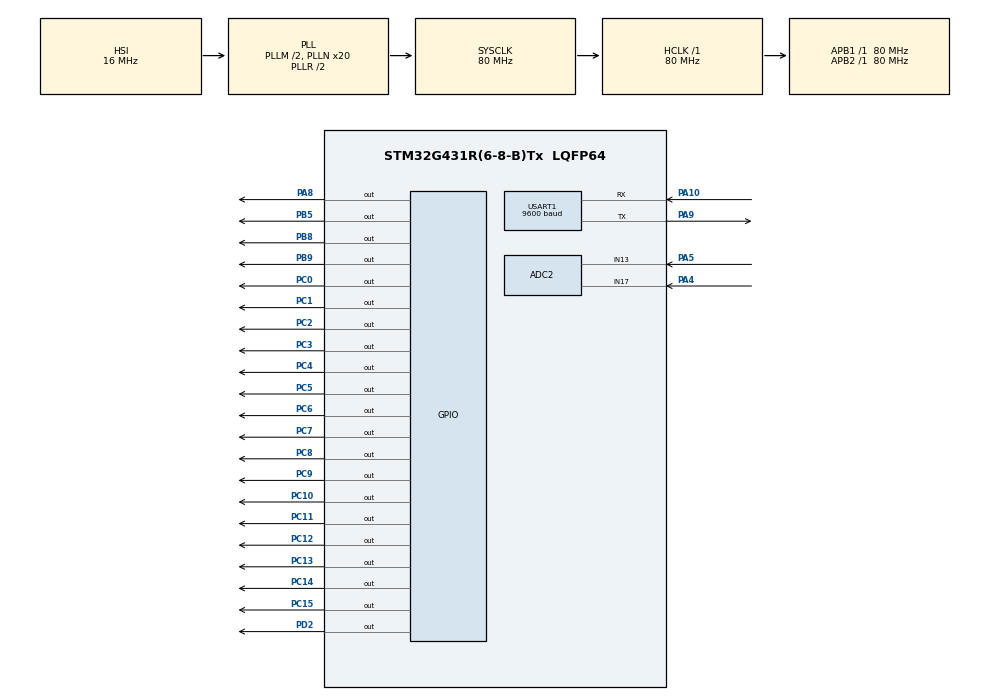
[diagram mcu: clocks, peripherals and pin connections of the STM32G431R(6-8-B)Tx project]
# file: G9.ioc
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ADC2.Channel-0\#ChannelRegularConversion=ADC_CHANNEL_17
ADC2.Channel-1\#ChannelRegularConversion=ADC_CHANNEL_13
ADC2.NbrOfConversion=2
ADC2.NbrOfConversionFlag=1
ADC2.OffsetNumber-0\#ChannelRegularConversion=ADC_OFFSET_NONE
ADC2.OffsetNumber-1\#ChannelRegularConversion=ADC_OFFSET_NONE
ADC2.Rank-0\#ChannelRegularConversion=1
ADC2.Rank-1\#ChannelRegularConversion=2
ADC2.SamplingTime-0\#ChannelRegularConversion=ADC_SAMPLETIME_640CYCLES_5
ADC2.SamplingTime-1\#ChannelRegularConversion=ADC_SAMPLETIME_640CYCLES_5
Mcu.Family=STM32G4
Mcu.Name=STM32G431R(6-8-B)Tx
Mcu.Package=LQFP64
NVIC.PriorityGroup=NVIC_PRIORITYGROUP_4
NVIC.TIM1_BRK_TIM15_IRQn=true\:0\:0\:false\:false\:true\:true\:true\:true
NVIC.USART1_IRQn=true\:0\:0\:false\:false\:true\:true\:true\:true
PA10.Mode=Asynchronous
PA10.Signal=USART1_RX
PA4.Mode=IN17-Single-Ended
PA4.Signal=ADC2_IN17
PA5.Mode=IN13-Single-Ended
PA5.Signal=ADC2_IN13
PA8.Signal=GPIO_Output
PA9.Mode=Asynchronous
PA9.Signal=USART1_TX
PB5.Signal=GPIO_Output
PB8-BOOT0.Signal=GPIO_Output
PB9.Signal=GPIO_Output
PC0.Signal=GPIO_Output
PC1.Signal=GPIO_Output
PC10.Signal=GPIO_Output
PC11.Signal=GPIO_Output
PC12.Signal=GPIO_Output
PC13.Signal=GPIO_Output
PC14-OSC32_IN.Signal=GPIO_Output
PC15-OSC32_OUT.Signal=GPIO_Output
PC2.Signal=GPIO_Output
PC3.Signal=GPIO_Output
PC4.Signal=GPIO_Output
PC5.Signal=GPIO_Output
PC6.Signal=GPIO_Output
PC7.Signal=GPIO_Output
PC8.Signal=GPIO_Output
PC9.Signal=GPIO_Output
PD2.Signal=GPIO_Output
PF0-OSC_IN.Mode=HSE-External-Oscillator
PF0-OSC_IN.Signal=RCC_OSC_IN
PF1-OSC_OUT.Mode=HSE-External-Oscillator
PF1-OSC_OUT.Signal=RCC_OSC_OUT
ProjectManager.HeapSize=0x200
ProjectManager.StackSize=0x400
ProjectManager.TargetToolchain=MDK-ARM V5
RCC.ADC12Freq_Value=80000000
RCC.AHBFreq_Value=80000000
RCC.APB1Freq_Value=80000000
RCC.APB1TimFreq_Value=80000000
RCC.APB2Freq_Value=80000000
RCC.APB2TimFreq_Value=80000000
RCC.CortexFreq_Value=80000000
RCC.EXTERNAL_CLOCK_VALUE=12288000
RCC.HCLKFreq_Value=80000000
RCC.HSE_VALUE=24000000
RCC.HSI48_VALUE=48000000
RCC.HSI_VALUE=16000000
RCC.LSE_VALUE=32768
RCC.PLLM=RCC_PLLM_DIV2
RCC.PLLN=20
RCC.SYSCLKFreq_VALUE=80000000
RCC.SYSCLKSource=RCC_SYSCLKSOURCE_PLLCLK
RCC.USBFreq_Value=80000000
RCC.VCOOutputFreq_Value=160000000
TIM15.PeriodNoDither=9999
TIM15.Prescaler=799
USART1.BaudRate=9600
USART1.VirtualMode-Asynchronous=VM_ASYNC
VP_SYS_VS_DBSignals.Mode=DisableDeadBatterySignals
VP_TIM15_VS_ClockSourceINT.Mode=Internal
board=custom

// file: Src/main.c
/* USER CODE BEGIN Header */
/**
  ******************************************************************************
  * @file           : main.c
  * @brief          : Main program body
  ******************************************************************************
  * @attention
  *
  * <h2><center>&copy; Copyright (c) 2021 STMicroelectronics.
  * All rights reserved.</center></h2>
  *
  * This software component is licensed by ST under BSD 3-Clause license,
  * the "License"; You may not use this file except in compliance with the
  * License. You may obtain a copy of the License at:
  *                        opensource.org/licenses/BSD-3-Clause
  *
  ******************************************************************************
  */
/* USER CODE END Header */

#include "main.h"
#include "adc.h"
#include "tim.h"
#include "usart.h"
#include "gpio.h"

/* USER CODE BEGIN Includes */
#include "led.h"
#include "stdio.h"
#include "string.h"
#include "math.h"
#include "i2c_hal.h"

/* USER CODE END Includes */

void SystemClock_Config(void);

/* USER CODE BEGIN 0 */

#define Display_Charge 0
#define Display_Setting 1

u8 Display_Mode = 0;

//1
//回来试试结构体写法--不一定比单个变量好用，由于这里每个对象只有两个特征
//typedef struct{
//
//
//	double price;
//
//
//
//} product;

u8 pdu_number = 1;

double pdu_weight = 8.00;
//2
double pdu_price[3] = {5.56,0.54,9.95};
double pdu_price_temp[3] = {5.56,0.54,9.95};
int set_number = 0;
u8 pdu_chose = 1;
double total_price = 0;

//EEPROM
u8 st = 0;

//LED
u8 led_ctrl = 0x00;
void LED_Proc(void)
{
	Led_Control(led_ctrl);
}

//key

uint32_t longTick1 = 0;
uint32_t idleTick1 = 0;

uint32_t longTick2 = 0;
uint32_t idleTick2 = 0;

//Two ADC
u32 adc_val1,adc_val2;
double rp5_v;
//double rp6_v;//用AKEY之前可以先测试两个通道是否影响
void ADC_Proc(void)
{
	HAL_ADC_Start(&hadc2);
	adc_val1 = HAL_ADC_GetValue(&hadc2);
	rp5_v = adc_val1/4095.0*3.3;

	pdu_weight = rp5_v/3.3*10;

	HAL_ADC_Start(&hadc2);
	adc_val2 = HAL_ADC_GetValue(&hadc2);
}

//AKEY
u8 Akey_IO(void)
{
	u8 key_val = 0x00;
	if(adc_val2 < 200)
		key_val|=0x01;
	else if(adc_val2 < 800)
		key_val|=0x02;
	else if(adc_val2 < 1400)
		key_val|=0x04;
	else if(adc_val2 < 2000)
		key_val|=0x08;
	else if(adc_val2 < 2600)
		key_val|=0x10;
	else if(adc_val2 < 3200)
		key_val|=0x20;
	else if(adc_val2 < 3800)
		key_val|=0x40;
	else if(adc_val2 < 3950)
		key_val|=0x80;

	return key_val;

}

u8 Atrg,Aup,ACont;

void Akey_Read(void)
{
	u8 ReadData = Akey_IO();
	Atrg = ReadData & (ReadData ^ ACont);
	Aup = ~ReadData & (ReadData ^ ACont);
	ACont = ReadData;
}

uint32_t akeyTick = 0;
extern int led_cnt1;

double inter,frac;
void Akey_Proc(void)
{
	if(uwTick - akeyTick < 20)return;
	akeyTick = uwTick;

	Akey_Read();

	if(Atrg & 0x01)
	{
		LCD_Clear(Black);
		Display_Mode = (Display_Mode + 1)%2;

		led_cnt1 = 0;

		if(Display_Mode == Display_Charge)
		{
			if(fabs(pdu_price[0] - pdu_price_temp[0]) < 0.001 && fabs(pdu_price[1] - pdu_price_temp[1]) < 0.001 && fabs(pdu_price[2] - pdu_price_temp[2]) < 0.001)
			{

			}
			else
			{
				pdu_price_temp[0] = pdu_price[0];
				pdu_price_temp[1] = pdu_price[1];
				pdu_price_temp[2] = pdu_price[2];
				set_number++;
			}

			printf("U.W.1:%.2f\r\nU.W.2:%.2f\r\nU.W.3:%.2f\r\n",pdu_price[0],pdu_price[1],pdu_price[2]);

      frac = modf(pdu_price[0],&inter);

			EEPROM_Write(0x02,(int)(pdu_price[0]*100)/256);
			EEPROM_Write(0x03,(int)(pdu_price[0]*100)%256);//这里一定改为round!!!!

//      frac = modf(pdu_price[1],&inter);
//
//			EEPROM_Write(0x04,round(inter));
//			EEPROM_Write(0x05,round((frac*100.0)));
//
//      frac = modf(pdu_price[2],&inter);
//
//			EEPROM_Write(0x06,round(inter));
//			EEPROM_Write(0x07,round((frac*100.0)));

			EEPROM_Write(0x08,set_number);
		}

		if(Display_Mode == Display_Setting)
		{
			pdu_price[0] = pdu_price_temp[0];
			pdu_price[1] = pdu_price_temp[1];
			pdu_price[2] = pdu_price_temp[2];
		}
	}

	if(Atrg & 0x02) //长度按
	{
		longTick1 = uwTick;

	}else if(ACont & 0x02 && uwTick - longTick1 > 800)
	{
		if(Display_Mode == Display_Setting)
		{
			if(uwTick - idleTick1 < 100) return; //间隔100ms加一次
			idleTick1 = uwTick;

			pdu_price[pdu_chose - 1]+=0.01; //考虑间隔加一次

			if(pdu_price[pdu_chose - 1] > 10.001)
				pdu_price[pdu_chose - 1] = 0;
		}
	}
	else if(Aup & 0x02 && uwTick - longTick1 < 800)
	{
		if(Display_Mode == Display_Setting)
		{
			pdu_price[pdu_chose - 1]+=0.01;

			if(pdu_price[pdu_chose - 1] > 10.001)
				pdu_price[pdu_chose - 1] = 0;
		}
	}

	if(Atrg & 0x04) //长短按
	{
		longTick2 = uwTick;
	}
	else if(ACont & 0x04 && uwTick - longTick2 > 800)
	{
		if(Display_Mode == Display_Setting)
		{
			if(uwTick - idleTick2 < 100) return; //间隔100ms一次
			idleTick2 = uwTick;

			pdu_price[pdu_chose - 1]-=0.01;

			if(pdu_price[pdu_chose - 1] < -0.001)
				pdu_price[pdu_chose - 1] = 10;
		}

	}
	else if(Aup & 0x04 && uwTick - longTick2 <800)
	{
		if(Display_Mode == Display_Setting)
		{

			pdu_price[pdu_chose - 1]-=0.01;

			if(pdu_price[pdu_chose - 1] < -0.001)
				pdu_price[pdu_chose - 1] = 10;
		}
	}

	if(Atrg & 0x08)
	{
		if(Display_Mode == Display_Setting)
		{
			pdu_chose = pdu_chose%3+1;
		}
	}

	if(Atrg & 0x10)
	{
		if(Display_Mode == Display_Charge)
			pdu_number = 1;
	}

	if(Atrg & 0x20)
	{
		if(Display_Mode == Display_Charge)
			pdu_number = 2;
	}

	if(Atrg & 0x40)
	{
		if(Display_Mode == Display_Charge)
			pdu_number = 3;
	}

	if(Atrg & 0x80)
	{
		if(Display_Mode == Display_Charge)
		{
			total_price = pdu_price[pdu_number-1] * pdu_weight;
			printf("U.W.%d:%.2f\r\nG.W:%.2f\r\nTotal:%.2f\r\n",pdu_number,pdu_price[pdu_number-1],pdu_weight,total_price); //在题目没有说明的情况下，一般结尾加上回车

		}
	}

}

//USART
int fputc(int ch, FILE *f)
{
  /* Your implementation of fputc(). */
	HAL_UART_Transmit(&huart1,(u8*)&ch,1,50);
  return ch;
}

//LCD
uint32_t lcdTick = 0;
void LCD_Proc(void)
{
	if(uwTick - lcdTick < 100) return;

	//ADC_Proc(); //若考虑到按键响应还是放到外面好

	u8 display_buf[30];

	if(Display_Mode == Display_Charge)
	{
		sprintf((char *)display_buf,"     Charge Price");
		LCD_DisplayStringLine(Line0,display_buf);

		sprintf((char *)display_buf,"number:%d",pdu_number);
		LCD_DisplayStringLine(Line2,display_buf);

		sprintf((char *)display_buf,"price:%.2f    ",pdu_price[pdu_number-1]);
		LCD_DisplayStringLine(Line4,display_buf);

		sprintf((char *)display_buf,"weight:%.2f    ",pdu_weight);
		LCD_DisplayStringLine(Line6,display_buf);

		sprintf((char *)display_buf,"total :%.2f     ",total_price);
		LCD_DisplayStringLine(Line8,display_buf);

		sprintf((char *)display_buf,"st:%d     ",st);
		LCD_DisplayStringLine(Line9,display_buf);

	}

	if(Display_Mode == Display_Setting)
	{
		sprintf((char *)display_buf,"     Charge Price");
		LCD_DisplayStringLine(Line0,display_buf);

		sprintf((char *)display_buf,"pdu1:%.2f /kg         ",pdu_price[0] + 0.000001); //显示-0.00问题
		if(pdu_chose == 1)
		LCD_SetBackColor(Green);
		LCD_DisplayStringLine(Line2,display_buf);
		LCD_SetBackColor(Black);

		sprintf((char *)display_buf,"pdu2:%.2f /kg        ",pdu_price[1] + 0.001);
		if(pdu_chose == 2)
		LCD_SetBackColor(Green);
		LCD_DisplayStringLine(Line3,display_buf);
		LCD_SetBackColor(Black);

		sprintf((char *)display_buf,"pdu3:%.2f /kg       ",pdu_price[2] + 0.001);
		if(pdu_chose == 3)
		LCD_SetBackColor(Green);
		LCD_DisplayStringLine(Line4,display_buf);
		LCD_SetBackColor(Black);

		sprintf((char *)display_buf,"     Seting number:%d   ",set_number);
		LCD_DisplayStringLine(Line6,display_buf);
	}

}

//TIM15
//int cnt;
//_Bool led_flag = 0;
int led_cnt1;
//799 9999
void HAL_TIM_PeriodElapsedCallback(TIM_HandleTypeDef *htim) //100ms
{
	if(htim == &htim15)
	{
		if(Display_Mode == Display_Charge)
		{
			led_cnt1++;
			if(led_cnt1 == 8)
			{
				led_ctrl^=0x01;
				led_cnt1 = 0;
			}
		}

		if(Display_Mode == Display_Setting)
		{
			led_cnt1++;
			if(led_cnt1 == 4)
			{
				led_ctrl^=0x01;
				led_cnt1 = 0;
			}
		}

	}
}

/* USER CODE END 0 */

int main(void)
{

  /* MCU Configuration--------------------------------------------------------*/

  /* Reset of all peripherals, Initializes the Flash interface and the Systick. */
  HAL_Init();

  /* Configure the system clock */
  SystemClock_Config();

  /* Initialize all configured peripherals */
  MX_GPIO_Init();
  MX_ADC2_Init();
  MX_USART1_UART_Init();
  MX_TIM15_Init();
  /* USER CODE BEGIN 2 */

    LCD_Init();

	//AKEY
	ADC_Proc();

	//TIM15
	HAL_TIM_Base_Start_IT(&htim15);

	//EEPROM
	I2CInit();
	\
	// 02 03    04 05    0607     08
	//       单价                   次数
  //设单价为 5.56 ， 0.54 ， 9.95
	//解法一 ，整数部分和小数部分分别存到两个地址
	//将小数分为整数部分和小数部分
	//小数拆解函数

	//解法二
	//5.56*100
	//a = 556/256; b = 556%256;
	//将a,b分别存入两个地址

	//取出来 c = (a*256 + b)/100.0

//	double integer,frac;
//	double num = 145.335;
//	frac = modf(num,&inter);
//	printf("int:%f  f:%f\r\n",integer,frac);

//	if(EEPROM_Read(0x01) != 24) //第一次上电
//	{
//		EEPROM_Write(0x01,24);

//		EEPROM_Write(0x02,556/256);
//		EEPROM_Write(0x03,556%256);

//		EEPROM_Write(0x04,0);
//		EEPROM_Write(0x05,0.54*100);
//
//		EEPROM_Write(0x06,9);
//		EEPROM_Write(0x07,0.95*100);

//		EEPROM_Write(0x08,0);
//

//	}

	//尽量这里都写幅值
//	pdu_price[0] = (EEPROM_Read(0x02)*256 + EEPROM_Read(0x03))/100.0;
//	pdu_price[1] = EEPROM_Read(0x04) + EEPROM_Read(0x05)/100.0;
//	pdu_price[2] = EEPROM_Read(0x06) + EEPROM_Read(0x07)/100.0;

//	pdu_price_temp[0] = pdu_price[0];
//	pdu_price_temp[1] = pdu_price[1];
//	pdu_price_temp[2] = pdu_price[2];
//
//	set_number = EEPROM_Read(0x08);

  EEPROM_Write(0x01,0);
  EEPROM_Write(0x02,0);
  EEPROM_Write(0x03,0);
  EEPROM_Write(0x04,0);
  EEPROM_Write(0x05,0);
  EEPROM_Write(0x07,0);
  EEPROM_Write(0x08,0);
  EEPROM_Write(0x09,0);

  /* USER CODE END 2 */

  /* Infinite loop */
  /* USER CODE BEGIN WHILE */

    LCD_Clear(Black);
    LCD_SetBackColor(Black);
    LCD_SetTextColor(White);

//    LCD_DrawLine(120, 0, 320, Horizontal);
//    LCD_DrawLine(0, 160, 240, Vertical);
//    HAL_Delay(1000);
//    LCD_Clear(Blue);

//    LCD_DrawRect(70, 210, 100, 100);
//    HAL_Delay(1000);
//    LCD_Clear(Blue);

//    LCD_DrawCircle(120, 160, 50);
//    HAL_Delay(1000);

//    LCD_Clear(Blue);
//    LCD_DisplayStringLine(Line4, (unsigned char *)"    Hello,world.   ");
//    HAL_Delay(1000);

//    LCD_SetBackColor(White);
//    LCD_DisplayStringLine(Line0, (unsigned char *)"                    ");
//    LCD_SetBackColor(Black);
//    LCD_DisplayStringLine(Line1, (unsigned char *)"                    ");
//    LCD_SetBackColor(Grey);
//    LCD_DisplayStringLine(Line2, (unsigned char *)"                    ");
//    LCD_SetBackColor(Blue);
//    LCD_DisplayStringLine(Line3, (unsigned char *)"                    ");
//    LCD_SetBackColor(Blue2);
//    LCD_DisplayStringLine(Line4, (unsigned char *)"                    ");
//    LCD_SetBackColor(Red);
//    LCD_DisplayStringLine(Line5, (unsigned char *)"                    ");
//    LCD_SetBackColor(Magenta);
//    LCD_DisplayStringLine(Line6, (unsigned char *)"                    ");
//    LCD_SetBackColor(Green);
//    LCD_DisplayStringLine(Line7, (unsigned char *)"                    ");
//    LCD_SetBackColor(Cyan);
//    LCD_DisplayStringLine(Line8, (unsigned char *)"                    ");
//    LCD_SetBackColor(Yellow);
//    LCD_DisplayStringLine(Line9, (unsigned char *)"                    ");
		Led_Control(0x00);

		//printf("num:%d\r\n",(int)5.9/2));
    while (1)
    {
    /* USER CODE END WHILE */

    /* USER CODE BEGIN 3 */
			ADC_Proc();
			LCD_Proc();
			Akey_Proc();
			LED_Proc();

    }
  /* USER CODE END 3 */
}

void SystemClock_Config(void)
{
  RCC_OscInitTypeDef RCC_OscInitStruct = {0};
  RCC_ClkInitTypeDef RCC_ClkInitStruct = {0};
  RCC_PeriphCLKInitTypeDef PeriphClkInit = {0};

  /** Configure the main internal regulator output voltage
  */
  HAL_PWREx_ControlVoltageScaling(PWR_REGULATOR_VOLTAGE_SCALE1);
  /** Initializes the CPU, AHB and APB busses clocks
  */
  RCC_OscInitStruct.OscillatorType = RCC_OSCILLATORTYPE_HSI;
  RCC_OscInitStruct.HSIState = RCC_HSI_ON;
  RCC_OscInitStruct.HSICalibrationValue = RCC_HSICALIBRATION_DEFAULT;
  RCC_OscInitStruct.PLL.PLLState = RCC_PLL_ON;
  RCC_OscInitStruct.PLL.PLLSource = RCC_PLLSOURCE_HSI;
  RCC_OscInitStruct.PLL.PLLM = RCC_PLLM_DIV2;
  RCC_OscInitStruct.PLL.PLLN = 20;
  RCC_OscInitStruct.PLL.PLLP = RCC_PLLP_DIV2;
  RCC_OscInitStruct.PLL.PLLQ = RCC_PLLQ_DIV2;
  RCC_OscInitStruct.PLL.PLLR = RCC_PLLR_DIV2;
  if (HAL_RCC_OscConfig(&RCC_OscInitStruct) != HAL_OK)
  {
    Error_Handler();
  }
  /** Initializes the CPU, AHB and APB busses clocks
  */
  RCC_ClkInitStruct.ClockType = RCC_CLOCKTYPE_HCLK|RCC_CLOCKTYPE_SYSCLK
                              |RCC_CLOCKTYPE_PCLK1|RCC_CLOCKTYPE_PCLK2;
  RCC_ClkInitStruct.SYSCLKSource = RCC_SYSCLKSOURCE_PLLCLK;
  RCC_ClkInitStruct.AHBCLKDivider = RCC_SYSCLK_DIV1;
  RCC_ClkInitStruct.APB1CLKDivider = RCC_HCLK_DIV1;
  RCC_ClkInitStruct.APB2CLKDivider = RCC_HCLK_DIV1;

  if (HAL_RCC_ClockConfig(&RCC_ClkInitStruct, FLASH_LATENCY_3) != HAL_OK)
  {
    Error_Handler();
  }
  /** Initializes the peripherals clocks
  */
  PeriphClkInit.PeriphClockSelection = RCC_PERIPHCLK_USART1|RCC_PERIPHCLK_ADC12;
  PeriphClkInit.Usart1ClockSelection = RCC_USART1CLKSOURCE_PCLK2;
  PeriphClkInit.Adc12ClockSelection = RCC_ADC12CLKSOURCE_SYSCLK;
  if (HAL_RCCEx_PeriphCLKConfig(&PeriphClkInit) != HAL_OK)
  {
    Error_Handler();
  }
}

void Error_Handler(void)
{
}

/************************ (C) COPYRIGHT STMicroelectronics *****END OF FILE****/
